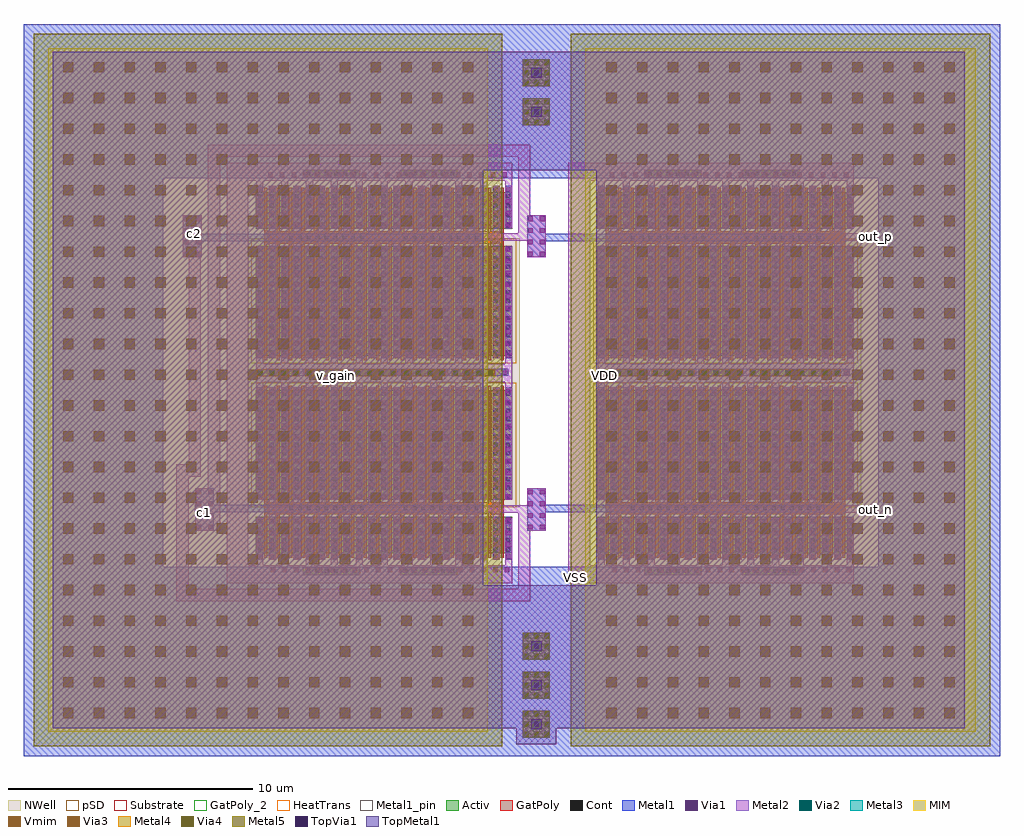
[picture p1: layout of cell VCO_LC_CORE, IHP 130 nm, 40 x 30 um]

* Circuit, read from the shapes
.subckt VCO_LC_CORE VDD VSS c1 c2 out_n out_p v_gain
XM1 c2 c1 VSS VSS sg13_lv_nmos w=1.5u l=0.13u m=20
XM2 c1 c2 VSS VSS sg13_lv_nmos w=1.5u l=0.13u m=20
XM3 out_n c2 VSS VSS sg13_lv_nmos w=1.5u l=0.13u m=20
XM4 out_p c1 VSS VSS sg13_lv_nmos w=1.5u l=0.13u m=20
XM5 c2 c1 v_gain v_gain sg13_lv_pmos w=4.5u l=0.13u m=20
XM6 c1 c2 v_gain v_gain sg13_lv_pmos w=4.5u l=0.13u m=20
XM7 out_n c2 VDD VDD sg13_lv_pmos w=4.5u l=0.13u m=20
XM8 out_p c1 VDD VDD sg13_lv_pmos w=4.5u l=0.13u m=20
XC9 VSS v_gain cap_cmim w=18u l=28u
XC10 VSS VDD cap_cmim w=16u l=28u
.ends

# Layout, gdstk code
from math import pi, radians
import gdstk
lib = gdstk.Library(unit=1e-6, precision=1e-09)
def R(c, l, rs):  # rectangles x0, y0, x1, y1
    for r in rs: c.add(gdstk.rectangle(r[:2], r[2:], *l))
def A(c, l, x, y, w, h, nx, ny, dx, dy):  # array of equal rectangles
    R(c, l, [(x+i*dx, y+j*dy, x+i*dx+w, y+j*dy+h) for i in range(nx) for j in range(ny)])
Activ = (1, 0)
GatPoly = (5, 0)
GatPoly_2 = (5, 2)
Cont = (6, 0)
Metal1 = (8, 0)
Metal1_pin = (8, 2)
Metal2 = (10, 0)
pSD = (14, 0)
Via1 = (19, 0)
Via2 = (29, 0)
Metal3 = (30, 0)
NWell = (31, 0)
MIM = (36, 0)
Substrate = (40, 0)
Via3 = (49, 0)
Metal4 = (50, 0)
HeatTrans = (51, 0)
Via4 = (66, 0)
Metal5 = (67, 0)
TopVia1 = (125, 0)
TopMetal1 = (126, 0)
Vmim = (129, 0)

cmim = lib.new_cell('cmim')
R(cmim, MIM, [(0,0,28,18)])
R(cmim, Metal5, [(-0.6,-0.6,28.6,18.6)])
R(cmim, TopMetal1, [(0.135,0.175,27.855,17.815)])
A(cmim, Vmim, 0.555, 0.595, 0.42, 0.42, 22, 14, 1.26, 1.26)

pmos_1 = lib.new_cell('pmos$1')
A(pmos_1, Activ, 0, 0, 0.3, 0.3, 21, 1, 0.51, 0)
R(pmos_1, Activ, [(0,0,10.5,4.5)])
A(pmos_1, GatPoly, 0.34, -0.18, 0.13, 4.86, 20, 1, 0.51, 0)
R(pmos_1, GatPoly, [(0.34,-0.18,0.47,4.68)])
A(pmos_1, Cont, 0.07, 0.07, 0.16, 0.16, 21, 13, 0.51, 0.35)
A(pmos_1, Metal1, 0.58, 0, 0.16, 4.5, 20, 1, 0.51, 0)
R(pmos_1, Metal1, [(0.07,0,0.23,4.5), (0.07,0,0.23,4.5), (0.58,0,0.74,4.5)])
R(pmos_1, pSD, [(-0.18,-0.3,10.68,4.8)])
R(pmos_1, NWell, [(-0.31,-0.31,10.81,4.81)])
R(pmos_1, Substrate, [(10.2,0,10.5,0.3)])
A(pmos_1, HeatTrans, 0.34, -0.18, 0.13, 4.86, 20, 1, 0.51, 0)
pmos_1.add(gdstk.Label('pmos', (0.405,2.25), layer=63, texttype=0))
pmos_1.add(gdstk.Label('pmos', (0.405,2.25), layer=51, texttype=0))
pmos_1.add(gdstk.Label('pmos', (0.915,2.25), layer=51, texttype=0))
pmos_1.add(gdstk.Label('pmos', (1.425,2.25), layer=51, texttype=0))
pmos_1.add(gdstk.Label('pmos', (1.935,2.25), layer=51, texttype=0))
pmos_1.add(gdstk.Label('pmos', (2.445,2.25), layer=51, texttype=0))
pmos_1.add(gdstk.Label('pmos', (2.955,2.25), layer=51, texttype=0))
pmos_1.add(gdstk.Label('pmos', (3.465,2.25), layer=51, texttype=0))
pmos_1.add(gdstk.Label('pmos', (3.975,2.25), layer=51, texttype=0))
pmos_1.add(gdstk.Label('pmos', (4.485,2.25), layer=51, texttype=0))
pmos_1.add(gdstk.Label('pmos', (4.995,2.25), layer=51, texttype=0))
pmos_1.add(gdstk.Label('pmos', (5.505,2.25), layer=51, texttype=0))
pmos_1.add(gdstk.Label('pmos', (6.015,2.25), layer=51, texttype=0))
pmos_1.add(gdstk.Label('pmos', (6.525,2.25), layer=51, texttype=0))
pmos_1.add(gdstk.Label('pmos', (7.035,2.25), layer=51, texttype=0))
pmos_1.add(gdstk.Label('pmos', (7.545,2.25), layer=51, texttype=0))
pmos_1.add(gdstk.Label('pmos', (8.055,2.25), layer=51, texttype=0))
pmos_1.add(gdstk.Label('pmos', (8.565,2.25), layer=51, texttype=0))
pmos_1.add(gdstk.Label('pmos', (9.075,2.25), layer=51, texttype=0))
pmos_1.add(gdstk.Label('pmos', (9.585,2.25), layer=51, texttype=0))
pmos_1.add(gdstk.Label('pmos', (10.095,2.25), layer=51, texttype=0))

cgm1_9x1 = lib.new_cell('cGM1_9x1')
R(cgm1_9x1, GatPoly, [(0,0,0.3,3.195)])
A(cgm1_9x1, Cont, 0.07, 0.07, 0.16, 0.16, 1, 3, 0, 0.36)
R(cgm1_9x1, Cont, [(0.07,1.155,0.23,1.315), (0.07,1.515,0.23,1.675), (0.07,1.88,0.23,2.04), (0.07,2.24,0.23,2.4), (0.07,2.605,0.23,2.765), (0.07,2.965,0.23,3.125)])
R(cgm1_9x1, Metal1, [(0.07,0,0.23,3.195)])

via_stack_3 = lib.new_cell('via_stack$3')
R(via_stack_3, Metal1, [(-0.145,-2.305,0.145,2.305)])
R(via_stack_3, Metal2, [(-0.145,-2.305,0.145,2.305)])
A(via_stack_3, Via1, -0.095, -2.255, 0.19, 0.19, 1, 10, 0, 0.48)

via_stack_2 = lib.new_cell('via_stack$2')
R(via_stack_2, Metal1, [(-0.145,-0.865,0.145,0.865)])
R(via_stack_2, Metal2, [(-0.145,-0.865,0.145,0.865)])
A(via_stack_2, Via1, -0.095, -0.815, 0.19, 0.19, 1, 4, 0, 0.48)

nmos_1 = lib.new_cell('nmos$1')
A(nmos_1, Activ, 0, 0, 0.3, 0.3, 21, 1, 0.51, 0)
R(nmos_1, Activ, [(0,0,10.5,1.5)])
A(nmos_1, GatPoly, 0.34, -0.18, 0.13, 1.86, 20, 1, 0.51, 0)
R(nmos_1, GatPoly_2, [(0.34,-0.18,0.47,1.68)])
A(nmos_1, Cont, 0.07, 0.07, 0.16, 0.16, 21, 4, 0.51, 0.4)
A(nmos_1, Metal1, 0.07, 0, 0.16, 1.5, 21, 1, 0.51, 0)
R(nmos_1, Metal1_pin, [(0.07,0,0.23,1.5), (0.58,0,0.74,1.5)])
A(nmos_1, HeatTrans, 0.34, -0.18, 0.13, 1.86, 20, 1, 0.51, 0)
nmos_1.add(gdstk.Label('nmos', (0.405,0.75), layer=63, texttype=0))
nmos_1.add(gdstk.Label('nmos', (0.405,0.75), layer=51, texttype=0))
nmos_1.add(gdstk.Label('nmos', (0.915,0.75), layer=51, texttype=0))
nmos_1.add(gdstk.Label('nmos', (1.425,0.75), layer=51, texttype=0))
nmos_1.add(gdstk.Label('nmos', (1.935,0.75), layer=51, texttype=0))
nmos_1.add(gdstk.Label('nmos', (2.445,0.75), layer=51, texttype=0))
nmos_1.add(gdstk.Label('nmos', (2.955,0.75), layer=51, texttype=0))
nmos_1.add(gdstk.Label('nmos', (3.465,0.75), layer=51, texttype=0))
nmos_1.add(gdstk.Label('nmos', (3.975,0.75), layer=51, texttype=0))
nmos_1.add(gdstk.Label('nmos', (4.485,0.75), layer=51, texttype=0))
nmos_1.add(gdstk.Label('nmos', (4.995,0.75), layer=51, texttype=0))
nmos_1.add(gdstk.Label('nmos', (5.505,0.75), layer=51, texttype=0))
nmos_1.add(gdstk.Label('nmos', (6.015,0.75), layer=51, texttype=0))
nmos_1.add(gdstk.Label('nmos', (6.525,0.75), layer=51, texttype=0))
nmos_1.add(gdstk.Label('nmos', (7.035,0.75), layer=51, texttype=0))
nmos_1.add(gdstk.Label('nmos', (7.545,0.75), layer=51, texttype=0))
nmos_1.add(gdstk.Label('nmos', (8.055,0.75), layer=51, texttype=0))
nmos_1.add(gdstk.Label('nmos', (8.565,0.75), layer=51, texttype=0))
nmos_1.add(gdstk.Label('nmos', (9.075,0.75), layer=51, texttype=0))
nmos_1.add(gdstk.Label('nmos', (9.585,0.75), layer=51, texttype=0))
nmos_1.add(gdstk.Label('nmos', (10.095,0.75), layer=51, texttype=0))

inv_90u_30u = lib.new_cell('inv_90u_30u')
R(inv_90u_30u, GatPoly, [(0.65,1.9,10.47,2.4)])
R(inv_90u_30u, Metal1, [(-2.19,2,9.6,2.295)])
A(inv_90u_30u, Metal2, 0.325, -0.175, 0.29, 0.21, 11, 2, 1.02, 7.28)
A(inv_90u_30u, Metal2, 0.835, 1.765, 0.29, 0.73, 10, 1, 1.02, 0)
R(inv_90u_30u, Metal2, [(1.125,1.975,11.81,2.285)])
inv_90u_30u.add(gdstk.Reference(pmos_1, (10.81,7), rotation=pi))
inv_90u_30u.add(gdstk.Reference(cgm1_9x1, (1.61,2.3), rotation=3*pi/2))
inv_90u_30u.add(gdstk.Reference(cgm1_9x1, (6.31,2.3), rotation=3*pi/2))
r = gdstk.Reference(via_stack_3, (0.47,4.8)); r.repetition = gdstk.Repetition(21, 1, v1=(0.51,0), v2=(0,0)); inv_90u_30u.add(r)
r = gdstk.Reference(via_stack_2, (0.47,0.9)); r.repetition = gdstk.Repetition(21, 1, v1=(0.51,0), v2=(0,0)); inv_90u_30u.add(r)
inv_90u_30u.add(gdstk.Reference(nmos_1, (10.81,1.8), rotation=pi))

bulk_cont_6x1_4 = lib.new_cell('bulk_cont_6x1$4')
A(bulk_cont_6x1_4, Cont, -0.08, -1.035, 0.16, 0.16, 1, 6, 0, 0.38)
R(bulk_cont_6x1_4, Metal1, [(-0.08,-1.105,0.08,1.095)])
bulk_cont_6x1_4.add(gdstk.FlexPath([(0,1.145),(0,-1.145)], 0.3, ends="flush", simple_path=True, layer=1, datatype=0))  # Activ

nmos_bulk_6x1 = lib.new_cell('NMOS-bulk_6x1')
nmos_bulk_6x1.add(gdstk.FlexPath([(-1.185,0),(1.185,0)], 0.36, ends="flush", simple_path=True, layer=14, datatype=0))  # pSD
nmos_bulk_6x1.add(gdstk.Reference(bulk_cont_6x1_4, (-0.01,0), rotation=pi/2))

via_stack_4 = lib.new_cell('via_stack$4')
R(via_stack_4, Metal1, [(-4.945,-0.145,4.945,0.145)])
R(via_stack_4, Metal2, [(-4.945,-0.145,4.945,0.145)])
A(via_stack_4, Via1, -4.895, -0.095, 0.19, 0.19, 21, 1, 0.48, 0)

bulk_cont_3x1 = lib.new_cell('bulk_cont_3x1')
A(bulk_cont_3x1, Cont, -0.08, -1.035, 0.16, 0.16, 1, 3, 0, 0.38)
R(bulk_cont_3x1, Metal1, [(-0.08,-1.105,0.08,-0.045)])
bulk_cont_3x1.add(gdstk.FlexPath([(0,-0.005),(0,-1.145)], 0.3, ends="flush", simple_path=True, layer=1, datatype=0))  # Activ

dual_inv = lib.new_cell('dual_inv')
R(dual_inv, Metal2, [(0,0,11.705,0.745), (0,0.745,0.9,16.495), (1.215,8.235,11.705,9.005), (0,16.495,11.705,17.24)])
R(dual_inv, NWell, [(0.89,8.23,12.01,9.01)])
dual_inv.add(gdstk.Reference(inv_90u_30u, (0.89,16.32), x_reflection=True))
dual_inv.add(gdstk.Reference(inv_90u_30u, (0.89,0.92)))
r = gdstk.Reference(nmos_bulk_6x1, (4.3,0.465)); r.repetition = gdstk.Repetition(2, 1, v1=(4,0), v2=(0,0)); dual_inv.add(r)
dual_inv.add(gdstk.Reference(via_stack_4, (6.6,8.6)))
dual_inv.add(gdstk.Reference(via_stack_4, (6.7,16.7)))
r = gdstk.Reference(bulk_cont_3x1, (9.835,8.6), rotation=pi/2); r.repetition = gdstk.Repetition(1, 3, v1=(0,0), v2=(-4,0)); dual_inv.add(r)
dual_inv.add(gdstk.Reference(via_stack_4, (6.6,0.5)))
r = gdstk.Reference(nmos_bulk_6x1, (4.3,16.735)); r.repetition = gdstk.Repetition(2, 1, v1=(4,0), v2=(0,0)); dual_inv.add(r)
dual_inv.add(gdstk.Label('VSS', (5.9,0.4), layer=10, texttype=25))
dual_inv.add(gdstk.Label('VDD', (5.9,8.6), layer=10, texttype=25))
dual_inv.add(gdstk.Label('out_p', (8.3,3.1), layer=10, texttype=25))
dual_inv.add(gdstk.Label('out_n', (8.3,14.035), layer=10, texttype=25))
dual_inv.add(gdstk.Label('in_n', (5.9,3.1), layer=8, texttype=25))
dual_inv.add(gdstk.Label('in_p', (5.9,14.1), layer=8, texttype=25))

via_stack_5 = lib.new_cell('via_stack$5')
R(via_stack_5, Metal1, [(-0.865,-0.385,0.865,0.385)])
R(via_stack_5, Metal2, [(-0.865,-0.385,0.865,0.385)])
A(via_stack_5, Via1, -0.815, -0.335, 0.19, 0.19, 4, 2, 0.48, 0.48)

cmim_1 = lib.new_cell('cmim$1')
R(cmim_1, MIM, [(0,0,28,16)])
R(cmim_1, Metal5, [(-0.6,-0.6,28.6,16.6)])
R(cmim_1, TopMetal1, [(0.135,0.435,27.855,15.555)])
A(cmim_1, Vmim, 0.555, 0.855, 0.42, 0.42, 22, 12, 1.26, 1.26)

via_stack = lib.new_cell('via_stack')
R(via_stack, Metal1, [(-0.555,-0.555,0.555,0.555)])
R(via_stack, Metal2, [(-0.555,-0.555,0.555,0.555)])
A(via_stack, Via1, -0.505, -0.505, 0.19, 0.19, 3, 3, 0.41, 0.41)
A(via_stack, Via2, -0.505, -0.505, 0.19, 0.19, 3, 3, 0.41, 0.41)
R(via_stack, Metal3, [(-0.555,-0.555,0.555,0.555)])
A(via_stack, Via3, -0.505, -0.505, 0.19, 0.19, 3, 3, 0.41, 0.41)
R(via_stack, Metal4, [(-0.555,-0.555,0.555,0.555)])
A(via_stack, Via4, -0.505, -0.505, 0.19, 0.19, 3, 3, 0.41, 0.41)
R(via_stack, Metal5, [(-0.555,-0.555,0.555,0.555), (-0.31,-0.31,0.31,0.31)])
R(via_stack, TopVia1, [(-0.21,-0.21,0.21,0.21)])
R(via_stack, TopMetal1, [(-0.82,-0.82,0.82,0.82)])

via_stack_7 = lib.new_cell('via_stack$7')
R(via_stack_7, Metal2, [(-0.145,-0.865,0.145,0.865)])
A(via_stack_7, Via2, -0.095, -0.815, 0.19, 0.19, 1, 4, 0, 0.48)
R(via_stack_7, Metal3, [(-0.145,-0.865,0.145,0.865)])
A(via_stack_7, Via3, -0.095, -0.815, 0.19, 0.19, 1, 4, 0, 0.48)
R(via_stack_7, Metal4, [(-0.145,-0.865,0.145,0.865)])
A(via_stack_7, Via4, -0.095, -0.815, 0.19, 0.19, 1, 4, 0, 0.48)
R(via_stack_7, Metal5, [(-0.145,-0.865,0.145,0.865)])

vco_lc_core = lib.new_cell('VCO_LC_CORE')
R(vco_lc_core, Metal1, [(-40,-20,-34.3,10), (-34.3,-20,0,-12.235), (-5,-12.235,0,3.675), (-34.3,3.675,0,10)])
R(vco_lc_core, TopMetal1, [(-21.175,-18.865,-16.555,-13), (-21.175,4,-16.555,8.855)])
vco_lc_core.add(gdstk.FlexPath([(-19.5,1.4),(-19.5,4.8),(-32.215,4.8),(-32.215,-10.765)], 0.5, ends="flush", simple_path=True, layer=10, datatype=0))  # Metal2
vco_lc_core.add(gdstk.FlexPath([(-33,0.435),(-33,-8.3),(-33.5,-8.3),(-33.5,-13.4),(-19.5,-13.4),(-19.5,-10.025)], 0.5, ends="flush", simple_path=True, layer=10, datatype=0))  # Metal2
vco_lc_core.add(gdstk.Reference(cmim, (-21,-19), rotation=pi/2))
r = gdstk.Reference(dual_inv, (-31.7,4.32), x_reflection=True); r.repetition = gdstk.Repetition(2, 1, v1=(14,0), v2=(0,0)); vco_lc_core.add(r)
vco_lc_core.add(gdstk.Reference(via_stack_5, (-19,1.3), rotation=pi/2))
vco_lc_core.add(gdstk.Reference(via_stack_5, (-19,-9.9), rotation=pi/2))
vco_lc_core.add(gdstk.Reference(via_stack_5, (-32.6,-9.9), rotation=pi/2))
vco_lc_core.add(gdstk.Reference(via_stack_5, (-33.1,1.3), rotation=pi/2))
vco_lc_core.add(gdstk.Reference(cmim_1, (-1,-19), rotation=pi/2))
r = gdstk.Reference(via_stack, (-19,-18.7), rotation=pi/2); r.repetition = gdstk.Repetition(3, 1, v1=(0,1.6), v2=(0,0)); vco_lc_core.add(r)
r = gdstk.Reference(via_stack, (-19,6.4), rotation=pi/2); r.repetition = gdstk.Repetition(2, 1, v1=(0,1.6), v2=(0,0)); vco_lc_core.add(r)
r = gdstk.Reference(via_stack_7, (-7.4,-4.3), rotation=pi/2); r.repetition = gdstk.Repetition(1, 5, v1=(0,0), v2=(-2,0)); vco_lc_core.add(r)
r = gdstk.Reference(via_stack_7, (-21.6,-4.3), rotation=pi/2); r.repetition = gdstk.Repetition(1, 5, v1=(0,0), v2=(-2,0)); vco_lc_core.add(r)
vco_lc_core.add(gdstk.Label('c2', (-33,1.4), layer=10, texttype=25))
vco_lc_core.add(gdstk.Label('c1', (-32.6,-10), layer=10, texttype=25))
vco_lc_core.add(gdstk.Label('out_p', (-5.1,1.3), layer=10, texttype=25))
vco_lc_core.add(gdstk.Label('out_n', (-5.1,-9.9), layer=10, texttype=25))
vco_lc_core.add(gdstk.Label('VSS', (-17.4,-12.7), layer=10, texttype=25))
vco_lc_core.add(gdstk.Label('VDD', (-16.2,-4.4), layer=10, texttype=25))
vco_lc_core.add(gdstk.Label('v_gain', (-27.2,-4.425), layer=10, texttype=25))

lib.write_gds('VCO_LC_CORE.gds')
